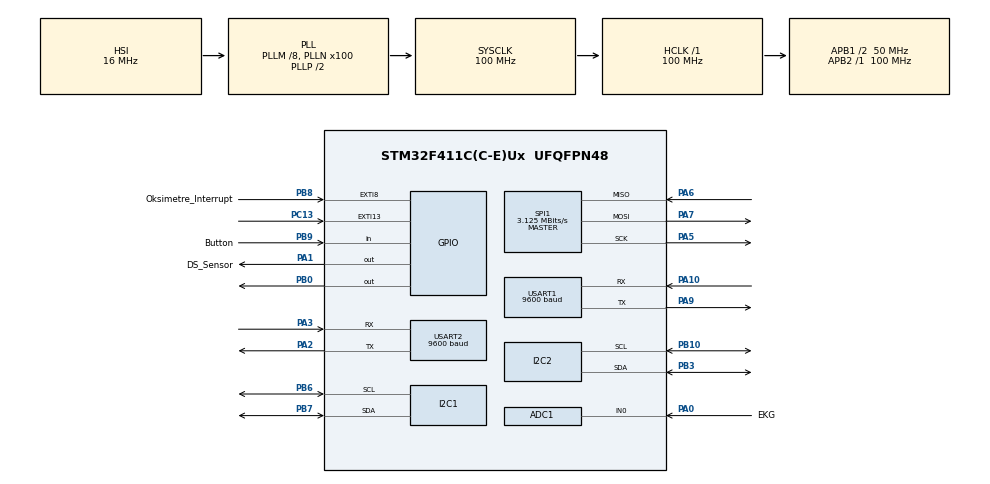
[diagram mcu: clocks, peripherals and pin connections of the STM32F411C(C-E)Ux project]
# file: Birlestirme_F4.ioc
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ADC1.Channel-0\#ChannelRegularConversion=ADC_CHANNEL_0
ADC1.ContinuousConvMode=ENABLE
ADC1.NbrOfConversionFlag=1
ADC1.Rank-0\#ChannelRegularConversion=1
ADC1.SamplingTime-0\#ChannelRegularConversion=ADC_SAMPLETIME_3CYCLES
ADC1.master=1
FATFS._MAX_SS=4096
FATFS._USE_LFN=1
I2C1.I2C_Mode=I2C_Standard
Mcu.Family=STM32F4
Mcu.Name=STM32F411C(C-E)Ux
Mcu.Package=UFQFPN48
NVIC.EXTI15_10_IRQn=true\:0\:0\:false\:false\:true\:true\:true\:true
NVIC.EXTI9_5_IRQn=true\:0\:0\:false\:false\:true\:true\:true\:true
NVIC.PriorityGroup=NVIC_PRIORITYGROUP_4
NVIC.TIM1_UP_TIM10_IRQn=true\:15\:0\:false\:false\:true\:false\:true\:true
NVIC.TIM2_IRQn=true\:0\:0\:false\:false\:true\:true\:true\:true
NVIC.TimeBase=TIM1_UP_TIM10_IRQn
NVIC.TimeBaseIP=TIM1
NVIC.USART2_IRQn=true\:0\:0\:false\:false\:true\:true\:true\:true
PA0-WKUP.GPIO_Label=EKG
PA0-WKUP.Signal=ADCx_IN0
PA1.GPIO_Label=DS_Sensor
PA1.Signal=GPIO_Output
PA10.Mode=Asynchronous
PA10.Signal=USART1_RX
PA13.Mode=Serial_Wire
PA13.Signal=SYS_JTMS-SWDIO
PA14.Mode=Serial_Wire
PA14.Signal=SYS_JTCK-SWCLK
PA2.Mode=Asynchronous
PA2.Signal=USART2_TX
PA3.Mode=Asynchronous
PA3.Signal=USART2_RX
PA5.Mode=Full_Duplex_Master
PA5.Signal=SPI1_SCK
PA6.Mode=Full_Duplex_Master
PA6.Signal=SPI1_MISO
PA7.Mode=Full_Duplex_Master
PA7.Signal=SPI1_MOSI
PA9.Mode=Asynchronous
PA9.Signal=USART1_TX
PB0.Signal=GPIO_Output
PB10.Mode=I2C
PB10.Signal=I2C2_SCL
PB3.Mode=I2C
PB3.Signal=I2C2_SDA
PB6.Mode=I2C
PB6.Signal=I2C1_SCL
PB7.Mode=I2C
PB7.Signal=I2C1_SDA
PB8.GPIO_Label=Oksimetre_Interrupt
PB8.GPIO_ModeDefaultEXTI=GPIO_MODE_IT_FALLING
PB8.GPIO_PuPd=GPIO_PULLUP
PB8.Signal=GPXTI8
PB9.GPIO_Label=Button
PB9.Signal=GPIO_Input
PC13-ANTI_TAMP.Signal=GPXTI13
PH0\ -\ OSC_IN.Mode=HSE-External-Oscillator
PH0\ -\ OSC_IN.Signal=RCC_OSC_IN
PH1\ -\ OSC_OUT.Mode=HSE-External-Oscillator
PH1\ -\ OSC_OUT.Signal=RCC_OSC_OUT
ProjectManager.HeapSize=0x200
ProjectManager.StackSize=0x400
ProjectManager.TargetToolchain=STM32CubeIDE
RCC.48MHZClocksFreq_Value=50000000
RCC.AHBFreq_Value=100000000
RCC.APB1CLKDivider=RCC_HCLK_DIV2
RCC.APB1Freq_Value=50000000
RCC.APB1TimFreq_Value=100000000
RCC.APB2Freq_Value=100000000
RCC.APB2TimFreq_Value=100000000
RCC.CortexFreq_Value=100000000
RCC.HCLKFreq_Value=100000000
RCC.HSE_VALUE=25000000
RCC.HSI_VALUE=16000000
RCC.LSE_VALUE=32768
RCC.PLLM=8
RCC.PLLN=100
RCC.SYSCLKFreq_VALUE=100000000
RCC.SYSCLKSource=RCC_SYSCLKSOURCE_PLLCLK
RCC.VCOOutputFreq_Value=200000000
SH.ADCx_IN0.0=ADC1_IN0,IN0
SPI1.BaudRatePrescaler=SPI_BAUDRATEPRESCALER_32
SPI1.CalculateBaudRate=3.125 MBits/s
SPI1.Direction=SPI_DIRECTION_2LINES
SPI1.Mode=SPI_MODE_MASTER
SPI1.VirtualType=VM_MASTER
TIM2.Period=1000-1
TIM2.Prescaler=100-1
TIM5.Prescaler=100-1
USART1.BaudRate=9600
USART1.VirtualMode=VM_ASYNC
USART2.BaudRate=9600
USART2.VirtualMode=VM_ASYNC
VP_FATFS_VS_Generic.Mode=User_defined
VP_SYS_VS_tim1.Mode=TIM1
VP_TIM2_VS_ClockSourceINT.Mode=Internal
VP_TIM5_VS_ClockSourceINT.Mode=Internal
board=custom

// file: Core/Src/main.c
/* USER CODE BEGIN Header */
/**
  ******************************************************************************
  * @file           : main.c
  * @brief          : Main program body
  ******************************************************************************
  * @attention
  *
  * Copyright (c) 2023 STMicroelectronics.
  * All rights reserved.
  *
  * This software is licensed under terms that can be found in the LICENSE file
  * in the root directory of this software component.
  * If no LICENSE file comes with this software, it is provided AS-IS.
  *
  ******************************************************************************
  */
/* USER CODE END Header */
#include "main.h"
#include "fatfs.h"

/* USER CODE BEGIN Includes */
#include "BME280_STM32.h"
#include "stdio.h"   //Sprintf icin gerekli olacak(SD CARD)
#include "fatfs_sd.h"
#include "string.h"

#include "lwgps/lwgps.h"

#include "max30102_for_stm32_hal.h"
/* USER CODE END Includes */

/* USER CODE BEGIN PD */
float spo2=0;
/* USER CODE END PD */

ADC_HandleTypeDef hadc1;

I2C_HandleTypeDef hi2c1;
I2C_HandleTypeDef hi2c2;

SPI_HandleTypeDef hspi1;

TIM_HandleTypeDef htim2;
TIM_HandleTypeDef htim5;

UART_HandleTypeDef huart1;
UART_HandleTypeDef huart2;

/* USER CODE BEGIN PV */

//// printf() function
//int __io_putchar(int ch)
//{
//  uint8_t temp = ch;
//  HAL_UART_Transmit(&huart1, &temp, 1, HAL_MAX_DELAY);
//  return ch;
//}

// Override plot function
void max30102_plot(uint32_t ir_sample, uint32_t red_sample)
{
    // printf("ir:%u\n", ir_sample);                  // Print IR only
    // printf("r:%u\n", red_sample);                  // Print Red only
   // printf("ir:%u,r:%u\n", ir_sample, red_sample);    // Print IR and Red
    spo2 = 100 *  ((float)red_sample / (float)(ir_sample));
}

// MAX30102 object
max30102_t max30102;
/* USER CODE END PV */

void SystemClock_Config(void);
static void MX_GPIO_Init(void);
static void MX_I2C2_Init(void);
static void MX_TIM5_Init(void);
static void MX_SPI1_Init(void);
static void MX_USART1_UART_Init(void);
static void MX_ADC1_Init(void);
static void MX_TIM2_Init(void);
static void MX_USART2_UART_Init(void);
static void MX_I2C1_Init(void);

/* USER CODE BEGIN 0 */

///////////////////////////// GPS //////////////////////////////////////////////////////////
lwgps_t gps;

uint8_t rx_buffer[128];
uint8_t rx_index = 0;
uint8_t rx_data = 0;

void HAL_UART_RxCpltCallback(UART_HandleTypeDef *huart)  //hızı knot cinsinden veriyor dikkat et
{
	if(huart == &huart2) {
		if(rx_data != '\n' && rx_index < sizeof(rx_buffer)) {
			rx_buffer[rx_index++] = rx_data;
		} else {
			lwgps_process(&gps, rx_buffer, rx_index+1);
			rx_index = 0;
			rx_data = 0;
		}
		HAL_UART_Receive_IT(&huart2, &rx_data, 1);
	}
}
///////////////////////////  Nabiz   ///////////////////////////////
int milisaniye=0;
int nabiz_bpm=0;

int counterOutside=0;
int counterInside=0;
int previousMillis=0;
int currentMillis=0;
/////////////////////// SD CARD ////////////////////////////////
int indx=0;
int indx_counter=0;
int part=1;

char yazi[200];
char kayit_dosya_ismi[50];
////////////////////   BME280     //////////////////////////////
float Temperature, Pressure, Humidity;
//////////////////////   DS18B20          ////////////////////
float Temperature_DS;
uint8_t Temp_byte1, Temp_byte2;
uint16_t TEMP;
/////////////////////// DS18B20 MicroDelay     ///////////////////////////////
void microDelay (uint16_t delay)  //Mikrosaniye Delay
{
  __HAL_TIM_SET_COUNTER(&htim5, 0);
  while (__HAL_TIM_GET_COUNTER(&htim5) < delay);  //ds18b20 icin timer source
}
//////////////////////// ONE WIRE PIN OUTPUT-INPUT AYARLAMA   DS18B20 ///////////////////////////////////////////
void Set_Pin_Output (GPIO_TypeDef *GPIOx, uint16_t GPIO_Pin)
{
	GPIO_InitTypeDef GPIO_InitStruct = {0};
	GPIO_InitStruct.Pin = GPIO_Pin;
	GPIO_InitStruct.Mode = GPIO_MODE_OUTPUT_PP;
	GPIO_InitStruct.Speed = GPIO_SPEED_FREQ_LOW;
	HAL_GPIO_Init(GPIOx, &GPIO_InitStruct);
}

void Set_Pin_Input (GPIO_TypeDef *GPIOx, uint16_t GPIO_Pin)
{
	GPIO_InitTypeDef GPIO_InitStruct = {0};
	GPIO_InitStruct.Pin = GPIO_Pin;
	GPIO_InitStruct.Mode = GPIO_MODE_INPUT;
	GPIO_InitStruct.Pull = GPIO_PULLUP;
	HAL_GPIO_Init(GPIOx, &GPIO_InitStruct);
}
///////////////////////// DS18B20 Fonksiyonlar  ////////////////////////////////////////

#define DS18B20_PORT GPIOA
#define DS18B20_PIN GPIO_PIN_1

uint8_t DS18B20_Start (void)
{
	uint8_t Response = 0;
	Set_Pin_Output(DS18B20_PORT, DS18B20_PIN);   // set the pin as output
	HAL_GPIO_WritePin (DS18B20_PORT, DS18B20_PIN, 0);  // pull the pin low
	microDelay(480);   // delay according to datasheet

	Set_Pin_Input(DS18B20_PORT, DS18B20_PIN);    // set the pin as input
	microDelay(80);    // delay according to datasheet

	if (!(HAL_GPIO_ReadPin (DS18B20_PORT, DS18B20_PIN))) Response = 1;    // if the pin is low i.e the presence pulse is detected
	else Response = -1;

	microDelay(480); // 480 us delay totally.

	return Response;
}

void DS18B20_Write (uint8_t data)
{
	Set_Pin_Output(DS18B20_PORT, DS18B20_PIN);  // set as output

	for (int i=0; i<8; i++)
	{

		if ((data & (1<<i))!=0)  // if the bit is high
		{
			// write 1

			Set_Pin_Output(DS18B20_PORT, DS18B20_PIN);  // set as output
			HAL_GPIO_WritePin (DS18B20_PORT, DS18B20_PIN, 0);  // pull the pin LOW
			microDelay(1);  // wait for 1 us

			Set_Pin_Input(DS18B20_PORT, DS18B20_PIN);  // set as input
			microDelay(50);  // wait for 60 us
		}

		else  // if the bit is low
		{
			// write 0

			Set_Pin_Output(DS18B20_PORT, DS18B20_PIN);
			HAL_GPIO_WritePin (DS18B20_PORT, DS18B20_PIN, 0);  // pull the pin LOW
			microDelay(50);  // wait for 60 us

			Set_Pin_Input(DS18B20_PORT, DS18B20_PIN);
		}
	}
}

uint8_t DS18B20_Read (void)
{
	uint8_t value=0;

	Set_Pin_Input(DS18B20_PORT, DS18B20_PIN);

	for (int i=0;i<8;i++)
	{
		Set_Pin_Output(DS18B20_PORT, DS18B20_PIN);   // set as output

		HAL_GPIO_WritePin (DS18B20_PORT, DS18B20_PIN, 0);  // pull the data pin LOW
		microDelay(1);  // wait for > 1us

		Set_Pin_Input(DS18B20_PORT, DS18B20_PIN);  // set as input
		if (HAL_GPIO_ReadPin (DS18B20_PORT, DS18B20_PIN))  // if the pin is HIGH
		{
			value |= 1<<i;  // read = 1
		}
		microDelay(50);  // wait for 60 us
	}
	return value;
}
///////////////////////////  FATFS   /////////////////////////////////////////////

FATFS fs;  // file system
FIL fil; // File
FILINFO fno;
FRESULT fresult;  // result
UINT br, bw;  // File read/write count

/**** capacity related *****/
FATFS *pfs;
DWORD fre_clust;
uint32_t total, free_space;

#define BUFFER_SIZE 128
char buffer[BUFFER_SIZE];  // to store strings..

int i=0;

int bufsize (char *buf)
{
	int i=0;
	while (*buf++ != '\0') i++;
	return i;
}

void clear_buffer (void)
{
	for (int i=0; i<BUFFER_SIZE; i++) buffer[i] = '\0';
}

void send_uart (char *string)
{
	uint8_t len = strlen (string);
	HAL_UART_Transmit(&huart1, (uint8_t *) string, len, HAL_MAX_DELAY);  // transmit in blocking mode
}

/////////////////////////////////////////////////////////////////////////////////////////////////////////////

/* USER CODE END 0 */

int main(void)
{

  /* MCU Configuration--------------------------------------------------------*/

  /* Reset of all peripherals, Initializes the Flash interface and the Systick. */
  HAL_Init();

  /* Configure the system clock */
  SystemClock_Config();

  /* Initialize all configured peripherals */
  MX_GPIO_Init();
  MX_I2C2_Init();
  MX_TIM5_Init();
  MX_SPI1_Init();
  MX_FATFS_Init();
  MX_USART1_UART_Init();
  MX_ADC1_Init();
  MX_TIM2_Init();
  MX_USART2_UART_Init();
  MX_I2C1_Init();
  /* USER CODE BEGIN 2 */

  ///////////////////////// DS18B20 /////////////////////////////////
  HAL_TIM_Base_Start(&htim5);
  ///////////////////////////// BME280 ////////////////////////////////
  BME280_Config(OSRS_2, OSRS_16, OSRS_1, MODE_NORMAL, T_SB_0p5, IIR_16);
  ///////////////////////////////////////////////////////////////////
  HAL_Delay (500);

//    fresult = f_mount(&fs, "/", 1);
//    	if (fresult != FR_OK) send_uart ("ERROR!!! in mounting SD CARD...\n\n");
//    	else send_uart("SD CARD mounted successfully...\n\n");
//
//
//    	/*************** Card capacity details ********************/
//
//    	/* Check free space */
//    	f_getfree("", &fre_clust, &pfs);
//
//    	total = (uint32_t)((pfs->n_fatent - 2) * pfs->csize * 0.5);
//    	sprintf (buffer, "SD CARD Total Size: \t%lu\n",total);
//    	send_uart(buffer);
//    	clear_buffer();
//    	free_space = (uint32_t)(fre_clust * pfs->csize * 0.5);
//    	sprintf (buffer, "SD CARD Free Space: \t%lu\n\n",free_space);
//    	send_uart(buffer);
//    	clear_buffer();
//
//
//
//    	/************* The following operation is using PUTS and GETS *********************/
//
//    	/* Open file to write/ create a file if it doesn't exist */
//        fresult = f_open(&fil, "file1.txt", FA_OPEN_ALWAYS | FA_READ | FA_WRITE);
//
//    	/* Writing text */
//    	f_puts("This data is from the FILE1.txt. And it was written using ...f_puts... ", &fil);
//
//    	/* Close file */
//    	fresult = f_close(&fil);
//
//    	if (fresult == FR_OK)send_uart ("File1.txt created and the data is written \n");
//
//    	/* Open file to read */
//    	fresult = f_open(&fil, "file1.txt", FA_READ);
//
//    	/* Read string from the file */
//    	f_gets(buffer, f_size(&fil), &fil);
//
//    	send_uart("File1.txt is opened and it contains the data as shown below\n");
//    	send_uart(buffer);
//    	send_uart("\n\n");
//
//    	/* Close file */
//    	f_close(&fil);
//
//    	clear_buffer();
//
//
//
//
//    	/**************** The following operation is using f_write and f_read **************************/
//
//    	/* Create second file with read write access and open it */
//    	fresult = f_open(&fil, "file2.txt", FA_CREATE_ALWAYS | FA_WRITE);
//
//    	/* Writing text */
//    	strcpy (buffer, "This is File2.txt, written using ...f_write... and it says Hello from Gokhan\n");
//
//    	fresult = f_write(&fil, buffer, bufsize(buffer), &bw);
//
//    	send_uart ("File2.txt created and data is written\n");
//
//    	/* Close file */
//    	f_close(&fil);
//
//
//
//    	// clearing buffer to show that result obtained is from the file
//    	clear_buffer();
//
//    	/* Open second file to read */
//    	fresult = f_open(&fil, "file2.txt", FA_READ);
//    	if (fresult == FR_OK)send_uart ("file2.txt is open and the data is shown below\n");
//
//    	/* Read data from the file
//    	 * Please see the function details for the arguments */
//    	f_read (&fil, buffer, f_size(&fil), &br);
//    	send_uart(buffer);
//    	send_uart("\n\n");
//
//    	/* Close file */
//    	f_close(&fil);
//
//    	clear_buffer();
//
//
//    	/*********************UPDATING an existing file ***************************/
//
//    	/* Open the file with write access */
//    	fresult = f_open(&fil, "file2.txt", FA_OPEN_EXISTING | FA_READ | FA_WRITE);
//
//    	/* Move to offset to the end of the file */
//    	fresult = f_lseek(&fil, f_size(&fil));
//
//    	if (fresult == FR_OK)send_uart ("About to update the file2.txt\n");
//
//    	/* write the string to the file */
//    	fresult = f_puts("This is updated data and it should be in the end", &fil);
//
//    	f_close (&fil);
//
//    	clear_buffer();
//
//    	/* Open to read the file */
//    	fresult = f_open (&fil, "file2.txt", FA_READ);
//
//    	/* Read string from the file */
//    	fresult = f_read (&fil, buffer, f_size(&fil), &br);
//    	if (fresult == FR_OK)send_uart ("Below is the data from updated file2.txt\n");
//    	send_uart(buffer);
//    	send_uart("\n\n");
//
//    	/* Close file */
//    	f_close(&fil);
//
//    	clear_buffer();
//
//
//    	/*************************REMOVING FILES FROM THE DIRECTORY ****************************/
//
//    	fresult = f_unlink("/file1.txt");
//    	if (fresult == FR_OK) send_uart("file1.txt removed successfully...\n");
//
//    	fresult = f_unlink("/file2.txt");
//    	if (fresult == FR_OK) send_uart("file2.txt removed successfully...\n");
//
//    	/* Unmount SDCARD */
//    	fresult = f_mount(NULL, "/", 1);
//    	if (fresult == FR_OK) send_uart ("SD CARD UNMOUNTED successfully...\n");

////////////////////////////////////////////////////////////////////////////////////////////////////
  HAL_TIM_Base_Start_IT(&htim2);
//////////////////////////////////////////////////////////////////////////////////////////////////
  lwgps_init(&gps);
  HAL_UART_Receive_IT(&huart2, &rx_data, 1);
///////////////////////////////////////////////////////
  // Initiation
     max30102_init(&max30102, &hi2c1);
     max30102_reset(&max30102);
     max30102_clear_fifo(&max30102);
     max30102_set_fifo_config(&max30102, max30102_smp_ave_8, 1, 7);

     // Sensor settings
     max30102_set_led_pulse_width(&max30102, max30102_pw_16_bit);
     max30102_set_adc_resolution(&max30102, max30102_adc_2048);
     max30102_set_sampling_rate(&max30102, max30102_sr_800);
     max30102_set_led_current_1(&max30102, 6.2);
     max30102_set_led_current_2(&max30102, 6.2);

     // Enter SpO2 mode
     max30102_set_mode(&max30102, max30102_spo2);
     max30102_set_a_full(&max30102, 1);

     // Initiate 1 temperature measurement
     max30102_set_die_temp_en(&max30102, 1);
     max30102_set_die_temp_rdy(&max30102, 1);

     uint8_t en_reg[2] = {0};
     max30102_read(&max30102, 0x00, en_reg, 1);

  /* USER CODE END 2 */

  /* Infinite loop */
  while (1)
  {

    /* USER CODE BEGIN 3 */
	  /////////////////// oksimetre ////////////////
	  if (max30102_has_interrupt(&max30102))
	  	  // Run interrupt handler to read FIFO
	  	  max30102_interrupt_handler(&max30102);
	  ///////////// BME 280 ////////////////////////
	  BME280_Measure();
	  /////////////////////   DS18B20    //////////////////
	  DS18B20_Start ();
	  HAL_Delay (1);
	  DS18B20_Write (0xCC);  // skip ROM
	  DS18B20_Write (0x44);  // convert t
	  HAL_Delay (800);  //RTOS GEREKLI

	  DS18B20_Start ();
	  HAL_Delay(1);
	  DS18B20_Write (0xCC);  // skip ROM
	  DS18B20_Write (0xBE);  // Read Scratch-pad

	  Temp_byte1 = DS18B20_Read();
	  Temp_byte2 = DS18B20_Read();
	  TEMP = (Temp_byte2<<8)|Temp_byte1;
	  Temperature_DS = (float)TEMP/16;   //DS sporcunun vucüt sıcaklığını ölcüyor
	  /////////////////////////////////////////
      //Partsiz kayit alma
	  ////////////////////////////////////////////////////////////////////SD CARD mount  NOT:TEK DIZINDE TOPLAM 7KB USTU DOSYA(YAKLASIK 180 SATIR) ISTEMIYOR GIBI
      //////// BU SATIRLAR ACIKKEN SD CARD TAKILI OLMAZSA DONUYOR ////////////////////////////////
        	sprintf (kayit_dosya_ismi,"file_1.txt");
	        fresult = f_mount(&fs, "/", 1);
	          ///////////////////////////////////////////////////////////////////////////////  //dosya olusturma
	      	fresult = f_open(&fil, kayit_dosya_ismi, FA_OPEN_ALWAYS | FA_READ | FA_WRITE);
        	fresult = f_close(&fil); //kapama
	      	////////////////////////////////////////////////////////////////////////////////// dosya sonuna yazi ekleme
	      	fresult = f_open(&fil, kayit_dosya_ismi, FA_OPEN_EXISTING | FA_READ | FA_WRITE);
	      	/* Move to offset to the end of the file */
	      	fresult = f_lseek(&fil, f_size(&fil));
	      	/* write the string to the file */
	      	if(indx == 0)
	      	{
	      		sprintf (yazi,"Index,Ortam Sicakligi,Nem,Basinc,Vucut Sicakligi,Nabiz(bpm)\n");
	      	}
	      	if (indx > 0)
	      	{
	      	sprintf (yazi,"%d,%.2f,%.2f,%.2f,%.2f,%d \n", indx, Temperature, Humidity, Pressure, Temperature_DS,nabiz_bpm);
	      	}
	      	indx++;
	      	fresult = f_puts(yazi , &fil);
	      	f_close (&fil);
	      	////////////////////////////////////////////////////////////////////////   sd card unmount
	      	fresult = f_mount(NULL, "/", 1);
	        /////////////////////////////////////////
	      	HAL_Delay (100);  // 1000 ms,100 ms de hardfaulta girmedi

///////////////////////////////////////////////////////////////////////
	  ///  Partli kayit alma
	  ////////////////////////////////////////////////////////////////////SD CARD mount
//	          if(part==1)
//	          {
//	          	sprintf (kayit_dosya_ismi,"/part1/file_%d.txt", part);
//	  	        fresult = f_mount(&fs, "/", 1);
//	  	          ///////////////////////////////////////////////////////////////////////////////  //dosya olusturma
//	  	      	fresult = f_open(&fil, kayit_dosya_ismi, FA_OPEN_ALWAYS | FA_READ | FA_WRITE);
//	          	fresult = f_close(&fil); //kapama
//	  	      	////////////////////////////////////////////////////////////////////////////////// dosya sonuna yazi ekleme
//	  	      	fresult = f_open(&fil, kayit_dosya_ismi, FA_OPEN_EXISTING | FA_READ | FA_WRITE);
//	  	      	/* Move to offset to the end of the file */
//	  	      	fresult = f_lseek(&fil, f_size(&fil));
//	  	      	/* write the string to the file */
//	  	      	if(indx == 0)
//	  	      	{
//	  	      		sprintf (yazi,"Index,Ortam Sicakligi,Nem,Basinc,Vucut Sicakligi\n");
//	  	      	}
//	  	      	if (indx > 0)
//	  	      	{
//	  	      	sprintf (yazi,"%d,%.2f,%.2f,%.2f,%.2f \n", indx, Temperature, Humidity, Pressure, Temperature_DS);
//	  	      	}
//	  	      	//strcpy(yazi, "Hello, world!");
//	  	      	indx++;
//	  	      	indx_counter++;
//	  	      	fresult = f_puts(yazi , &fil);
//	  	      	f_close (&fil);
//	  	      	clear_buffer();
//	  	      	////////////////////////////////////////////////////////////////////////   sd card unmount
//	  	      	fresult = f_mount(NULL, "/", 1);
//	  	        /////////////////////////////////////////
//	  	      	HAL_Delay (100);  // 1000 ms,100 ms de hardfaulta girmedi
//	          }
//	          ///////////////////////////////////////////////////////////////////////////////////////////
//	          if(indx_counter>150)
//	          {
//	          	indx_counter=0;
//	          	part++;
//	          }
//	          ////////////////////////////////////////////////////////////////////////////////////////
//	          if(part>1 )
//	          {
//	          sprintf (kayit_dosya_ismi,"/part%d/file_%d.txt", part, part);
//	          fresult = f_mount(&fs, "/", 1);
//	          ///////////////////////////////////////////////////////////////////////////////  //dosya olusturma
//	          fresult = f_open(&fil, kayit_dosya_ismi, FA_OPEN_ALWAYS | FA_READ | FA_WRITE);
//	          fresult = f_close(&fil); //kapama
//	          ////////////////////////////////////////////////////////////////////////////////// dosya sonuna yazi ekleme
//	          fresult = f_open(&fil, kayit_dosya_ismi, FA_OPEN_EXISTING | FA_READ | FA_WRITE);
//	          /* Move to offset to the end of the file */
//	          fresult = f_lseek(&fil, f_size(&fil));
//	          /* write the string to the file */
//	          sprintf (yazi,"%d,%.2f,%.2f,%.2f,%.2f \n", indx, Temperature, Humidity, Pressure, Temperature_DS);
//	          //strcpy(yazi, "Hello, world!");
//	          indx++;
//	          indx_counter++;
//	          fresult = f_puts(yazi , &fil);
//	          f_close (&fil);
//	          clear_buffer();
//	          ////////////////////////////////////////////////////////////////////////   sd card unmount
//	          fresult = f_mount(NULL, "/", 1);
//	          /////////////////////////////////////////
//	          HAL_Delay (100);  // 1000 ms,100 ms de hardfaulta girmedi
//	          }
//////////////////////////////////////////////////////////////////////////////////////////////////////

  }
  /* USER CODE END 3 */
}

void SystemClock_Config(void)
{
  RCC_OscInitTypeDef RCC_OscInitStruct = {0};
  RCC_ClkInitTypeDef RCC_ClkInitStruct = {0};

  /** Configure the main internal regulator output voltage
  */
  __HAL_RCC_PWR_CLK_ENABLE();
  __HAL_PWR_VOLTAGESCALING_CONFIG(PWR_REGULATOR_VOLTAGE_SCALE1);

  /** Initializes the RCC Oscillators according to the specified parameters
  * in the RCC_OscInitTypeDef structure.
  */
  RCC_OscInitStruct.OscillatorType = RCC_OSCILLATORTYPE_HSI;
  RCC_OscInitStruct.HSIState = RCC_HSI_ON;
  RCC_OscInitStruct.HSICalibrationValue = RCC_HSICALIBRATION_DEFAULT;
  RCC_OscInitStruct.PLL.PLLState = RCC_PLL_ON;
  RCC_OscInitStruct.PLL.PLLSource = RCC_PLLSOURCE_HSI;
  RCC_OscInitStruct.PLL.PLLM = 8;
  RCC_OscInitStruct.PLL.PLLN = 100;
  RCC_OscInitStruct.PLL.PLLP = RCC_PLLP_DIV2;
  RCC_OscInitStruct.PLL.PLLQ = 4;
  if (HAL_RCC_OscConfig(&RCC_OscInitStruct) != HAL_OK)
  {
    Error_Handler();
  }

  /** Initializes the CPU, AHB and APB buses clocks
  */
  RCC_ClkInitStruct.ClockType = RCC_CLOCKTYPE_HCLK|RCC_CLOCKTYPE_SYSCLK
                              |RCC_CLOCKTYPE_PCLK1|RCC_CLOCKTYPE_PCLK2;
  RCC_ClkInitStruct.SYSCLKSource = RCC_SYSCLKSOURCE_PLLCLK;
  RCC_ClkInitStruct.AHBCLKDivider = RCC_SYSCLK_DIV1;
  RCC_ClkInitStruct.APB1CLKDivider = RCC_HCLK_DIV2;
  RCC_ClkInitStruct.APB2CLKDivider = RCC_HCLK_DIV1;

  if (HAL_RCC_ClockConfig(&RCC_ClkInitStruct, FLASH_LATENCY_3) != HAL_OK)
  {
    Error_Handler();
  }
}

static void MX_ADC1_Init(void)
{

  ADC_ChannelConfTypeDef sConfig = {0};

  /** Configure the global features of the ADC (Clock, Resolution, Data Alignment and number of conversion)
  */
  hadc1.Instance = ADC1;
  hadc1.Init.ClockPrescaler = ADC_CLOCK_SYNC_PCLK_DIV4;
  hadc1.Init.Resolution = ADC_RESOLUTION_12B;
  hadc1.Init.ScanConvMode = DISABLE;
  hadc1.Init.ContinuousConvMode = ENABLE;
  hadc1.Init.DiscontinuousConvMode = DISABLE;
  hadc1.Init.ExternalTrigConvEdge = ADC_EXTERNALTRIGCONVEDGE_NONE;
  hadc1.Init.ExternalTrigConv = ADC_SOFTWARE_START;
  hadc1.Init.DataAlign = ADC_DATAALIGN_RIGHT;
  hadc1.Init.NbrOfConversion = 1;
  hadc1.Init.DMAContinuousRequests = DISABLE;
  hadc1.Init.EOCSelection = ADC_EOC_SINGLE_CONV;
  if (HAL_ADC_Init(&hadc1) != HAL_OK)
  {
    Error_Handler();
  }

  /** Configure for the selected ADC regular channel its corresponding rank in the sequencer and its sample time.
  */
  sConfig.Channel = ADC_CHANNEL_0;
  sConfig.Rank = 1;
  sConfig.SamplingTime = ADC_SAMPLETIME_3CYCLES;
  if (HAL_ADC_ConfigChannel(&hadc1, &sConfig) != HAL_OK)
  {
    Error_Handler();
  }

}

static void MX_I2C1_Init(void)
{

  hi2c1.Instance = I2C1;
  hi2c1.Init.ClockSpeed = 100000;
  hi2c1.Init.DutyCycle = I2C_DUTYCYCLE_2;
  hi2c1.Init.OwnAddress1 = 0;
  hi2c1.Init.AddressingMode = I2C_ADDRESSINGMODE_7BIT;
  hi2c1.Init.DualAddressMode = I2C_DUALADDRESS_DISABLE;
  hi2c1.Init.OwnAddress2 = 0;
  hi2c1.Init.GeneralCallMode = I2C_GENERALCALL_DISABLE;
  hi2c1.Init.NoStretchMode = I2C_NOSTRETCH_DISABLE;
  if (HAL_I2C_Init(&hi2c1) != HAL_OK)
  {
    Error_Handler();
  }

}

static void MX_I2C2_Init(void)
{

  hi2c2.Instance = I2C2;
  hi2c2.Init.ClockSpeed = 100000;
  hi2c2.Init.DutyCycle = I2C_DUTYCYCLE_2;
  hi2c2.Init.OwnAddress1 = 0;
  hi2c2.Init.AddressingMode = I2C_ADDRESSINGMODE_7BIT;
  hi2c2.Init.DualAddressMode = I2C_DUALADDRESS_DISABLE;
  hi2c2.Init.OwnAddress2 = 0;
  hi2c2.Init.GeneralCallMode = I2C_GENERALCALL_DISABLE;
  hi2c2.Init.NoStretchMode = I2C_NOSTRETCH_DISABLE;
  if (HAL_I2C_Init(&hi2c2) != HAL_OK)
  {
    Error_Handler();
  }

}

static void MX_SPI1_Init(void)
{

  /* SPI1 parameter configuration*/
  hspi1.Instance = SPI1;
  hspi1.Init.Mode = SPI_MODE_MASTER;
  hspi1.Init.Direction = SPI_DIRECTION_2LINES;
  hspi1.Init.DataSize = SPI_DATASIZE_8BIT;
  hspi1.Init.CLKPolarity = SPI_POLARITY_LOW;
  hspi1.Init.CLKPhase = SPI_PHASE_1EDGE;
  hspi1.Init.NSS = SPI_NSS_SOFT;
  hspi1.Init.BaudRatePrescaler = SPI_BAUDRATEPRESCALER_32;
  hspi1.Init.FirstBit = SPI_FIRSTBIT_MSB;
  hspi1.Init.TIMode = SPI_TIMODE_DISABLE;
  hspi1.Init.CRCCalculation = SPI_CRCCALCULATION_DISABLE;
  hspi1.Init.CRCPolynomial = 10;
  if (HAL_SPI_Init(&hspi1) != HAL_OK)
  {
    Error_Handler();
  }

}

static void MX_TIM2_Init(void)
{

  TIM_ClockConfigTypeDef sClockSourceConfig = {0};
  TIM_MasterConfigTypeDef sMasterConfig = {0};

  htim2.Instance = TIM2;
  htim2.Init.Prescaler = 100-1;
  htim2.Init.CounterMode = TIM_COUNTERMODE_UP;
  htim2.Init.Period = 1000-1;
  htim2.Init.ClockDivision = TIM_CLOCKDIVISION_DIV1;
  htim2.Init.AutoReloadPreload = TIM_AUTORELOAD_PRELOAD_DISABLE;
  if (HAL_TIM_Base_Init(&htim2) != HAL_OK)
  {
    Error_Handler();
  }
  sClockSourceConfig.ClockSource = TIM_CLOCKSOURCE_INTERNAL;
  if (HAL_TIM_ConfigClockSource(&htim2, &sClockSourceConfig) != HAL_OK)
  {
    Error_Handler();
  }
  sMasterConfig.MasterOutputTrigger = TIM_TRGO_RESET;
  sMasterConfig.MasterSlaveMode = TIM_MASTERSLAVEMODE_DISABLE;
  if (HAL_TIMEx_MasterConfigSynchronization(&htim2, &sMasterConfig) != HAL_OK)
  {
    Error_Handler();
  }

}

static void MX_TIM5_Init(void)
{

  TIM_ClockConfigTypeDef sClockSourceConfig = {0};
  TIM_MasterConfigTypeDef sMasterConfig = {0};

  htim5.Instance = TIM5;
  htim5.Init.Prescaler = 100-1;
  htim5.Init.CounterMode = TIM_COUNTERMODE_UP;
  htim5.Init.Period = 4294967295;
  htim5.Init.ClockDivision = TIM_CLOCKDIVISION_DIV1;
  htim5.Init.AutoReloadPreload = TIM_AUTORELOAD_PRELOAD_DISABLE;
  if (HAL_TIM_Base_Init(&htim5) != HAL_OK)
  {
    Error_Handler();
  }
  sClockSourceConfig.ClockSource = TIM_CLOCKSOURCE_INTERNAL;
  if (HAL_TIM_ConfigClockSource(&htim5, &sClockSourceConfig) != HAL_OK)
  {
    Error_Handler();
  }
  sMasterConfig.MasterOutputTrigger = TIM_TRGO_RESET;
  sMasterConfig.MasterSlaveMode = TIM_MASTERSLAVEMODE_DISABLE;
  if (HAL_TIMEx_MasterConfigSynchronization(&htim5, &sMasterConfig) != HAL_OK)
  {
    Error_Handler();
  }

}

static void MX_USART1_UART_Init(void)
{

  huart1.Instance = USART1;
  huart1.Init.BaudRate = 9600;
  huart1.Init.WordLength = UART_WORDLENGTH_8B;
  huart1.Init.StopBits = UART_STOPBITS_1;
  huart1.Init.Parity = UART_PARITY_NONE;
  huart1.Init.Mode = UART_MODE_TX_RX;
  huart1.Init.HwFlowCtl = UART_HWCONTROL_NONE;
  huart1.Init.OverSampling = UART_OVERSAMPLING_16;
  if (HAL_UART_Init(&huart1) != HAL_OK)
  {
    Error_Handler();
  }

}

static void MX_USART2_UART_Init(void)
{

  huart2.Instance = USART2;
  huart2.Init.BaudRate = 9600;
  huart2.Init.WordLength = UART_WORDLENGTH_8B;
  huart2.Init.StopBits = UART_STOPBITS_1;
  huart2.Init.Parity = UART_PARITY_NONE;
  huart2.Init.Mode = UART_MODE_TX_RX;
  huart2.Init.HwFlowCtl = UART_HWCONTROL_NONE;
  huart2.Init.OverSampling = UART_OVERSAMPLING_16;
  if (HAL_UART_Init(&huart2) != HAL_OK)
  {
    Error_Handler();
  }

}

static void MX_GPIO_Init(void)
{
  GPIO_InitTypeDef GPIO_InitStruct = {0};

  /* GPIO Ports Clock Enable */
  __HAL_RCC_GPIOC_CLK_ENABLE();
  __HAL_RCC_GPIOH_CLK_ENABLE();
  __HAL_RCC_GPIOA_CLK_ENABLE();
  __HAL_RCC_GPIOB_CLK_ENABLE();

  /*Configure GPIO pin Output Level */
  HAL_GPIO_WritePin(DS_Sensor_GPIO_Port, DS_Sensor_Pin, GPIO_PIN_RESET);

  /*Configure GPIO pin Output Level */
  HAL_GPIO_WritePin(GPIOB, GPIO_PIN_0, GPIO_PIN_RESET);

  /*Configure GPIO pin : PC13 */
  GPIO_InitStruct.Pin = GPIO_PIN_13;
  GPIO_InitStruct.Mode = GPIO_MODE_IT_RISING;
  GPIO_InitStruct.Pull = GPIO_NOPULL;
  HAL_GPIO_Init(GPIOC, &GPIO_InitStruct);

  /*Configure GPIO pin : DS_Sensor_Pin */
  GPIO_InitStruct.Pin = DS_Sensor_Pin;
  GPIO_InitStruct.Mode = GPIO_MODE_OUTPUT_PP;
  GPIO_InitStruct.Pull = GPIO_NOPULL;
  GPIO_InitStruct.Speed = GPIO_SPEED_FREQ_LOW;
  HAL_GPIO_Init(DS_Sensor_GPIO_Port, &GPIO_InitStruct);

  /*Configure GPIO pin : PB0 */
  GPIO_InitStruct.Pin = GPIO_PIN_0;
  GPIO_InitStruct.Mode = GPIO_MODE_OUTPUT_PP;
  GPIO_InitStruct.Pull = GPIO_NOPULL;
  GPIO_InitStruct.Speed = GPIO_SPEED_FREQ_LOW;
  HAL_GPIO_Init(GPIOB, &GPIO_InitStruct);

  /*Configure GPIO pin : Oksimetre_Interrupt_Pin */
  GPIO_InitStruct.Pin = Oksimetre_Interrupt_Pin;
  GPIO_InitStruct.Mode = GPIO_MODE_IT_FALLING;
  GPIO_InitStruct.Pull = GPIO_PULLUP;
  HAL_GPIO_Init(Oksimetre_Interrupt_GPIO_Port, &GPIO_InitStruct);

  /*Configure GPIO pin : Button_Pin */
  GPIO_InitStruct.Pin = Button_Pin;
  GPIO_InitStruct.Mode = GPIO_MODE_INPUT;
  GPIO_InitStruct.Pull = GPIO_NOPULL;
  HAL_GPIO_Init(Button_GPIO_Port, &GPIO_InitStruct);

  /* EXTI interrupt init*/
  HAL_NVIC_SetPriority(EXTI9_5_IRQn, 0, 0);
  HAL_NVIC_EnableIRQ(EXTI9_5_IRQn);

  HAL_NVIC_SetPriority(EXTI15_10_IRQn, 0, 0);
  HAL_NVIC_EnableIRQ(EXTI15_10_IRQn);

}

/* USER CODE BEGIN 4 */
void HAL_GPIO_EXTI_Callback(uint16_t GPIO_Pin)  //Nabiz hesaplama,Not:EXTI hattında oksimetre 2(counteroutside)*6=12 bpm ekliyor.
{
	counterOutside++; //For testing only
	  currentMillis = HAL_GetTick();
	  if (GPIO_Pin == GPIO_PIN_13 && (currentMillis - previousMillis > 30))
	  {
	    counterInside++; //For testing only
	    previousMillis = currentMillis;
	  }
}
/* USER CODE END 4 */

void HAL_TIM_PeriodElapsedCallback(TIM_HandleTypeDef *htim)
{
  /* USER CODE BEGIN Callback 0 */
	if (htim->Instance == TIM2)
	{
		milisaniye++;
		if(milisaniye==10000)
		{
			nabiz_bpm=counterOutside*6;
			milisaniye=0;
			counterOutside=0;
			counterInside=0;
		}
	}

  /* USER CODE END Callback 0 */
  if (htim->Instance == TIM1) {
    HAL_IncTick();
  }
}

void Error_Handler(void)
{
  __disable_irq();
  while (1)
  {
  }
}
